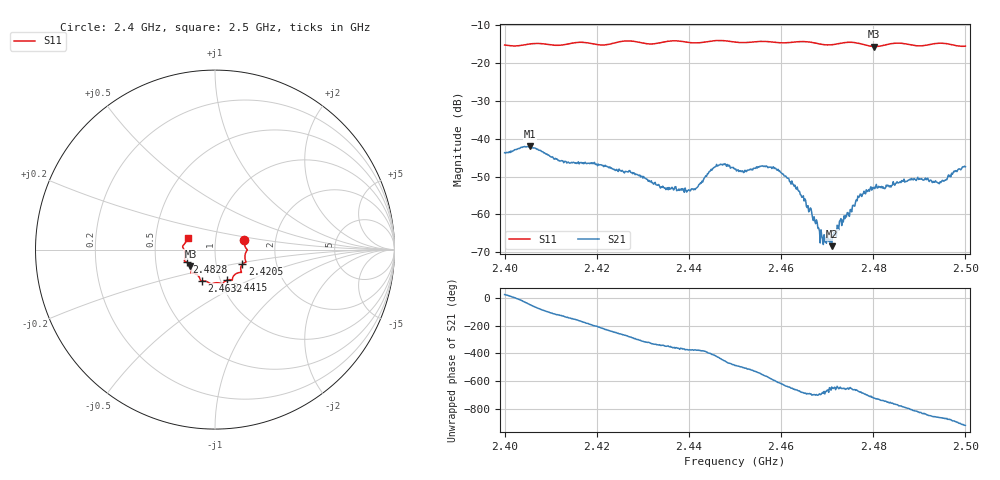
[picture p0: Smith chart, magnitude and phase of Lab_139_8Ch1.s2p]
# Hz S RI R 50
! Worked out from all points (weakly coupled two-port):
!   601 points, 2.4 GHz to 2.5 GHz, reference 50 ohm
!   highest |S21| = -42.01 dB at 2.4055 GHz (marker M1); lowest = -68.4 dB at 2.471 GHz (marker M2)
!   lowest |S11| = -15.7 dB at 2.4802 GHz (marker M3), VSWR 1.39, Z = 37.4 - j6.98 ohm
!   |S11| at or under -10 dB: start of sweep to end of sweep
!   S12 and S22 are empty: the file has one direction only
!   S11 on the Smith chart (normalised r, x): 2.4 GHz: 1.38, +0.15; 2.4205 GHz: 1.34, -0.23; 2.4415 GHz: 1.07, -0.38; 2.4632 GHz: 0.82, -0.29; 2.4828 GHz: 0.72, -0.10; 2.5 GHz: 0.73, +0.10
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2.4e9  0.1637 0.0514  0.00603 0.00245  0 0  0 0
2.4055e9  0.1774 0.00246  0.00505 -0.00611  0 0  0 0
2.412333e9  0.1665 -0.0409  -0.00316 -0.00404  0 0  0 0
2.416667e9  0.1727 -0.0699  -0.00478 -0.000738  0 0  0 0
2.4205e9  0.1521 -0.0817  -0.00385 0.00232  0 0  0 0
2.4275e9  0.1462 -0.1273  0.000794 0.00346  0 0  0 0
2.433333e9  0.1005 -0.1516  0.00231 0.000893  0 0  0 0
2.4415e9  0.0655 -0.1707  0.00212 -0.000574  0 0  0 0
2.446e9  0.0412 -0.1923  0.00221 -0.004  0 0  0 0
2.45e9  0.0243 -0.1863  -0.00236 -0.00317  0 0  0 0
2.458333e9  -0.0338 -0.1847  -0.00265 0.00332  0 0  0 0
2.463167e9  -0.0732 -0.174  0.00108 0.00196  0 0  0 0
2.466667e9  -0.0822 -0.167  0.000979 0.000377  0 0  0 0
2.469e9  -0.091 -0.1491  0.000367 0.000319  0 0  0 0
2.471e9  -0.1086 -0.1348  6.88e-05 0.000375  0 0  0 0
2.476833e9  -0.1322 -0.1238  0.00112 0.00124  0 0  0 0
2.480167e9  -0.1367 -0.0908  0.00228 1.24e-05  0 0  0 0
2.482833e9  -0.1587 -0.0701  0.00223 -0.000982  0 0  0 0
2.483333e9  -0.1626 -0.0682  0.00202 -0.00126  0 0  0 0
2.49e9  -0.166 -0.0223  -0.000713 -0.00289  0 0  0 0
2.494333e9  -0.1807 0.0166  -0.00192 -0.00166  0 0  0 0
2.5e9  -0.1528 0.0644  -0.00408 0.00117  0 0  0 0
